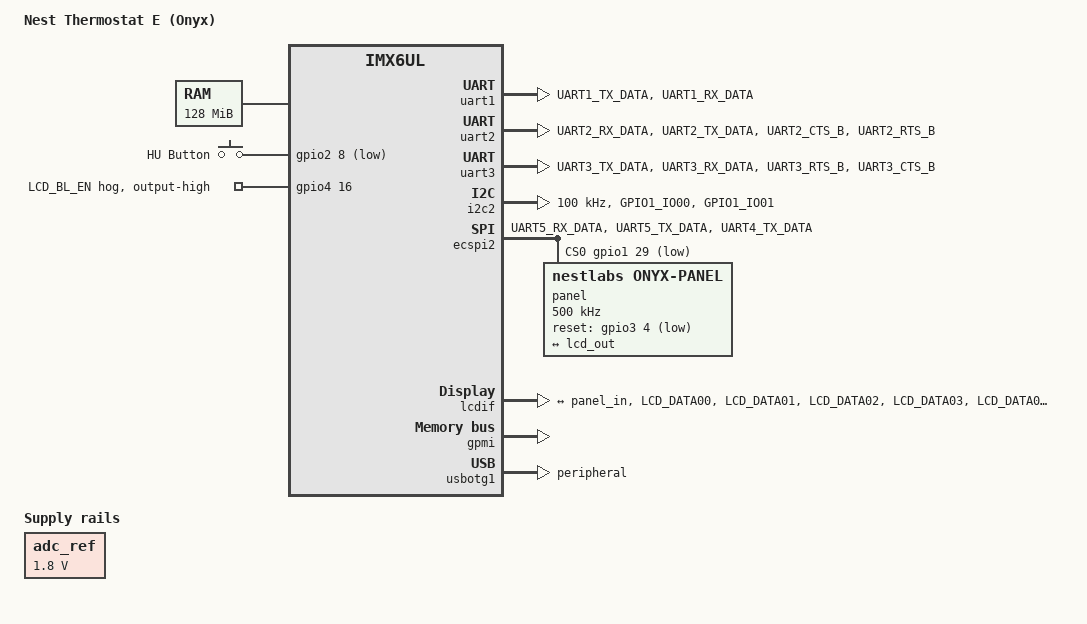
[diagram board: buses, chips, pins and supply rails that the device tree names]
// SPDX-License-Identifier: GPL-2.0-only
/* Pin assignments: Copyright (C) 2016 Nest Labs, Inc. */
/dts-v1/;
#include "nxp/imx/imx6ul.dtsi"
#include "nxp/imx/imx6ul-pinfunc.h"
#include <dt-bindings/gpio/gpio.h>
#include <dt-bindings/input/input.h>
#define PAD_CONFIG__DEFAULT 0x1008
#define PAD_CONFIG__GPIO 0x40001008
#define PAD_CONFIG__I2C 0x40001808

/ {
    model = "Nest Thermostat E (Onyx)";
    compatible = "nestlabs,onyx-evt", "fsl,imx6ul";
    memory@80000000 { device_type = "memory"; reg = <0x80000000 0x08000000>; };
    chosen { stdout-path = "serial0:115200n8"; };
    gpio-keys {
        compatible = "gpio-keys";
        pinctrl-names = "default"; pinctrl-0 = <&pinctrl_button>;
        button { label = "HU Button"; linux,code = <KEY_ENTER>;
            gpios = <&gpio2 8 GPIO_ACTIVE_LOW>; debounce-interval = <20>; };
    };
    adc_ref: regulator-adc { compatible = "regulator-fixed";
        regulator-name = "adc-reference"; regulator-min-microvolt = <1800000>;
        regulator-max-microvolt = <1800000>; regulator-always-on; };
};
&uart1 { pinctrl-names = "default"; pinctrl-0 = <&pinctrl_uart1>; status = "okay"; };
&uart2 { pinctrl-names = "default"; pinctrl-0 = <&pinctrl_uart2_1>;
    uart-has-rtscts; status = "okay"; };
&uart3 { pinctrl-names = "default"; pinctrl-0 = <&pinctrl_uart3_1>;
    uart-has-rtscts; status = "okay"; };
&i2c2 { pinctrl-names = "default"; pinctrl-0 = <&pinctrl_i2c2_1>;
    clock-frequency = <100000>; status = "okay"; };
&ecspi2 {
    pinctrl-names = "default"; pinctrl-0 = <&pinctrl_ecspi2_1>;
    cs-gpios = <&gpio1 29 GPIO_ACTIVE_LOW>; status = "okay";
    panel@0 { compatible = "nestlabs,onyx-panel"; reg = <0>;
        spi-max-frequency = <500000>; spi-cpol; spi-cpha;
        reset-gpios = <&gpio3 4 GPIO_ACTIVE_LOW>;
        port { panel_in: endpoint { remote-endpoint = <&lcd_out>; }; };
    };
};
&lcdif { pinctrl-names = "default";
    pinctrl-0 = <&pinctrl_lcdif_dat_1 &pinctrl_lcdif_ctrl_1>;
    status = "okay";
    port { lcd_out: endpoint { remote-endpoint = <&panel_in>; }; };
};
&gpmi { status = "okay"; nand-on-flash-bbt;
    partitions { compatible = "fixed-partitions"; #address-cells = <1>; #size-cells = <1>;
        partition@0 { label = "u-boot"; reg = <0 0x400000>; read-only; };
        partition@400000 { label = "ubipart"; reg = <0x400000 0x1fb80000>; };
    };
};
&usbotg1 { dr_mode = "peripheral"; disable-over-current; status = "okay"; };
&iomuxc {
    pinctrl_uart1: uart1grp { fsl,pins = <
        MX6UL_PAD_UART1_TX_DATA__UART1_DCE_TX 0x1008
        MX6UL_PAD_UART1_RX_DATA__UART1_DCE_RX 0x1008
    >; };
pinctrl_i2c2_1: i2c2grp-1 {
			fsl,pins = <
				MX6UL_PAD_GPIO1_IO00__I2C2_SCL          PAD_CONFIG__I2C         /* I2C_AP_PIN_LCD_SCK */
				MX6UL_PAD_GPIO1_IO01__I2C2_SDA          PAD_CONFIG__I2C         /* I2C_AP_PIN_LCD_SDA */
			>;
};
pinctrl_uart2_1: uart2grp-1 {
			fsl,pins = <
				MX6UL_PAD_UART2_RX_DATA__UART2_DCE_RX   PAD_CONFIG__DEFAULT     /* UART_MCU_TO_AP */
				MX6UL_PAD_UART2_TX_DATA__UART2_DCE_TX   PAD_CONFIG__DEFAULT     /* UART_AP_TO_MCU */
				MX6UL_PAD_UART2_CTS_B__UART2_DCE_CTS    PAD_CONFIG__DEFAULT     /* UART_FLOW_AP_TO_MCU */
				MX6UL_PAD_UART2_RTS_B__UART2_DCE_RTS    PAD_CONFIG__DEFAULT     /* UART_FLOW_MCU_TO_AP */
			>;
};
pinctrl_uart3_1: uart3grp-1 {
			fsl,pins = <
				MX6UL_PAD_UART3_TX_DATA__UART3_DCE_TX   PAD_CONFIG__DEFAULT     /* UART_AP_TO_BLE */
				MX6UL_PAD_UART3_RX_DATA__UART3_DCE_RX   PAD_CONFIG__DEFAULT     /* UART_BLE_TO_AP */
				MX6UL_PAD_UART3_RTS_B__UART3_DCE_RTS    PAD_CONFIG__DEFAULT     /* UART_FLOW_BLE_TO_AP */
				MX6UL_PAD_UART3_CTS_B__UART3_DCE_CTS    PAD_CONFIG__DEFAULT     /* UART_FLOW_AP_TO_BLE */
			>;
};
pinctrl_usdhc2_1: usdhc2grp {
			fsl,pins = <
				MX6UL_PAD_CSI_VSYNC__USDHC2_CLK         PAD_CONFIG__DEFAULT     /* AP_SDIO_WIFI_CLK */
				MX6UL_PAD_CSI_HSYNC__USDHC2_CMD         PAD_CONFIG__DEFAULT     /* AP_SDIO_WIFI_CMD */
				MX6UL_PAD_CSI_DATA00__USDHC2_DATA0      PAD_CONFIG__DEFAULT     /* AP_SDIO_WIFI_DATA0 */
				MX6UL_PAD_CSI_DATA01__USDHC2_DATA1      PAD_CONFIG__DEFAULT     /* AP_SDIO_WIFI_DATA1 */
				MX6UL_PAD_CSI_DATA02__USDHC2_DATA2      PAD_CONFIG__DEFAULT     /* AP_SDIO_WIFI_DATA2 */
				MX6UL_PAD_CSI_DATA03__USDHC2_DATA3      PAD_CONFIG__DEFAULT     /* AP_SDIO_WIFI_DATA3 */
			>;
};
pinctrl_lcdif_dat_1: lcdifdatgrp-1 {
			fsl,pins = <
				MX6UL_PAD_LCD_DATA00__LCDIF_DATA00      PAD_CONFIG__DEFAULT     /* LCD_DATA0 */
				MX6UL_PAD_LCD_DATA01__LCDIF_DATA01      PAD_CONFIG__DEFAULT     /* LCD_DATA1 */
				MX6UL_PAD_LCD_DATA02__LCDIF_DATA02      PAD_CONFIG__DEFAULT     /* LCD_DATA2 */
				MX6UL_PAD_LCD_DATA03__LCDIF_DATA03      PAD_CONFIG__DEFAULT     /* LCD_DATA3 */
				MX6UL_PAD_LCD_DATA04__LCDIF_DATA04      PAD_CONFIG__DEFAULT     /* LCD_DATA4 */
				MX6UL_PAD_LCD_DATA05__LCDIF_DATA05      PAD_CONFIG__DEFAULT     /* LCD_DATA5 */
				MX6UL_PAD_LCD_DATA06__LCDIF_DATA06      PAD_CONFIG__DEFAULT     /* LCD_DATA6 */
				MX6UL_PAD_LCD_DATA07__LCDIF_DATA07      PAD_CONFIG__DEFAULT     /* LCD_DATA7 */
				MX6UL_PAD_LCD_DATA08__LCDIF_DATA08      PAD_CONFIG__DEFAULT     /* LCD_DATA8 */
				MX6UL_PAD_LCD_DATA09__LCDIF_DATA09      PAD_CONFIG__DEFAULT     /* LCD_DATA9 */
				MX6UL_PAD_LCD_DATA10__LCDIF_DATA10      PAD_CONFIG__DEFAULT     /* LCD_DATA10 */
				MX6UL_PAD_LCD_DATA11__LCDIF_DATA11      PAD_CONFIG__DEFAULT     /* LCD_DATA11 */
				MX6UL_PAD_LCD_DATA12__LCDIF_DATA12      PAD_CONFIG__DEFAULT     /* LCD_DATA12 */
				MX6UL_PAD_LCD_DATA13__LCDIF_DATA13      PAD_CONFIG__DEFAULT     /* LCD_DATA13 */
				MX6UL_PAD_LCD_DATA14__LCDIF_DATA14      PAD_CONFIG__DEFAULT     /* LCD_DATA14 */
				MX6UL_PAD_LCD_DATA15__LCDIF_DATA15      PAD_CONFIG__DEFAULT     /* LCD_DATA15 */
				MX6UL_PAD_LCD_DATA16__LCDIF_DATA16      PAD_CONFIG__DEFAULT     /* LCD_DATA16 */
				MX6UL_PAD_LCD_DATA17__LCDIF_DATA17      PAD_CONFIG__DEFAULT     /* LCD_DATA17 */
				MX6UL_PAD_LCD_DATA18__LCDIF_DATA18      PAD_CONFIG__DEFAULT     /* LCD_DATA18 */
				MX6UL_PAD_LCD_DATA19__LCDIF_DATA19      PAD_CONFIG__DEFAULT     /* LCD_DATA19 */
				MX6UL_PAD_LCD_DATA20__LCDIF_DATA20      PAD_CONFIG__DEFAULT     /* LCD_DATA20 */
				MX6UL_PAD_LCD_DATA21__LCDIF_DATA21      PAD_CONFIG__DEFAULT     /* LCD_DATA21 */
				MX6UL_PAD_LCD_DATA22__LCDIF_DATA22      PAD_CONFIG__DEFAULT     /* LCD_DATA22 */
				MX6UL_PAD_LCD_DATA23__LCDIF_DATA23      PAD_CONFIG__DEFAULT     /* LCD_DATA23 */
			>;
};
pinctrl_lcdif_ctrl_1: lcdifctrlgrp-1 {
			fsl,pins = <
				MX6UL_PAD_LCD_CLK__LCDIF_CLK            PAD_CONFIG__DEFAULT     /* LCD_CLK */
				MX6UL_PAD_LCD_ENABLE__LCDIF_ENABLE      PAD_CONFIG__DEFAULT     /* LCD_ENABLE */
				MX6UL_PAD_LCD_VSYNC__LCDIF_VSYNC        PAD_CONFIG__DEFAULT     /* LCD_VSYNC */
				MX6UL_PAD_LCD_HSYNC__LCDIF_HSYNC        PAD_CONFIG__DEFAULT     /* LCD_HSYNC */
				MX6UL_PAD_LCD_RESET__GPIO3_IO04         PAD_CONFIG__GPIO        /* LCD_RESET */
			>;
};
pinctrl_ecspi2_1: ecspi2grp-1 {
			fsl,pins = <
				MX6UL_PAD_UART5_RX_DATA__ECSPI2_MISO    PAD_CONFIG__DEFAULT     /* SPI_AP_LCD_MISO */
				MX6UL_PAD_UART5_TX_DATA__ECSPI2_MOSI    PAD_CONFIG__DEFAULT     /* SPI_AP_LCD_MOSI */
				MX6UL_PAD_UART4_TX_DATA__ECSPI2_SCLK    PAD_CONFIG__DEFAULT     /* SPI_AP_LCD_CLK */
			>;
};
pinctrl_ecspi4_1: ecspi4grp-1 {
			fsl,pins = <
				MX6UL_PAD_ENET2_TX_CLK__ECSPI4_MISO     PAD_CONFIG__DEFAULT     /* SPI_6LO_MISO */
				MX6UL_PAD_ENET2_TX_EN__ECSPI4_MOSI      PAD_CONFIG__DEFAULT     /* SPI_6LO_MOSI */
				MX6UL_PAD_ENET2_TX_DATA1__ECSPI4_SCLK   PAD_CONFIG__DEFAULT     /* SPI_6LO_SCLK */
			>;
};
pinctrl_pwm8_0: pwm8grp-0 {
			fsl,pins = <
				MX6UL_PAD_ENET1_RX_ER__PWM8_OUT         PAD_CONFIG__DEFAULT     /* PWM_PIEZO_DRIVE */
			>;
};
};

&iomuxc {
    pinctrl_backlight: backlightgrp { fsl,pins = <MX6UL_PAD_NAND_DQS__GPIO4_IO16 0x1008>; };
    pinctrl_button: buttongrp { fsl,pins = <MX6UL_PAD_ENET2_RX_DATA0__GPIO2_IO08 0x1008>; };
};
&gpio4 {
    pinctrl-names = "default"; pinctrl-0 = <&pinctrl_backlight>;
    backlight-enable-hog { gpio-hog; gpios = <16 GPIO_ACTIVE_HIGH>;
        output-high; line-name = "LCD_BL_EN"; };
};
